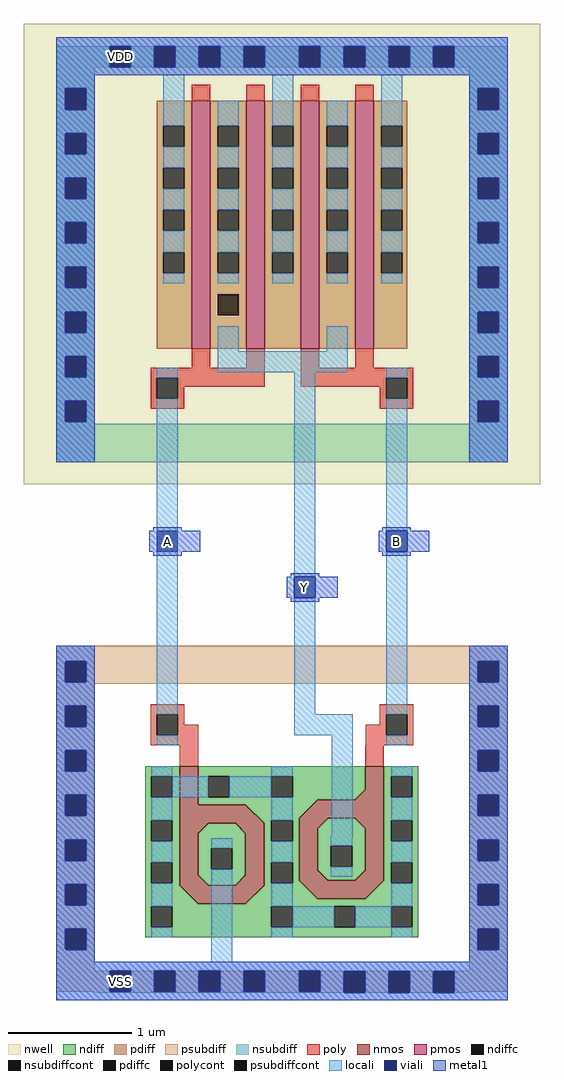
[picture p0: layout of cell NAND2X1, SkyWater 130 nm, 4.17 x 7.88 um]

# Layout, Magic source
magic
tech sky130A
magscale 1 2
<< nwell >>
rect 84 1554 613 1575
rect 84 1492 635 1554
rect 84 1487 613 1492
rect 84 1139 582 1487
rect 84 1105 205 1139
rect 229 1105 582 1139
rect 84 832 582 1105
<< pdiffc >>
rect 229 1105 263 1139
<< psubdiff >>
rect 31 510 635 572
rect 31 13 55 47
rect 89 13 127 47
rect 161 13 199 47
rect 233 13 271 47
rect 305 13 361 47
rect 395 46 635 47
rect 395 13 433 46
rect 31 12 433 13
rect 467 12 505 46
rect 539 12 577 46
rect 611 12 635 46
<< nsubdiff >>
rect 31 1505 55 1539
rect 89 1505 127 1539
rect 161 1505 199 1539
rect 233 1505 271 1539
rect 305 1505 361 1539
rect 395 1505 433 1539
rect 467 1505 505 1539
rect 539 1505 577 1539
rect 611 1505 635 1539
rect 31 868 635 930
<< psubdiffcont >>
rect 55 13 89 47
rect 127 13 161 47
rect 199 13 233 47
rect 271 13 305 47
rect 361 13 395 47
rect 433 12 467 46
rect 505 12 539 46
rect 577 12 611 46
<< nsubdiffcont >>
rect 55 1505 89 1539
rect 127 1505 161 1539
rect 199 1505 233 1539
rect 271 1505 305 1539
rect 361 1505 395 1539
rect 433 1505 467 1539
rect 505 1505 539 1539
rect 577 1505 611 1539
<< poly >>
rect 175 990 187 1020
rect 481 990 491 1020
rect 175 411 198 444
rect 168 403 198 411
rect 468 411 491 444
rect 468 410 498 411
<< locali >>
rect 31 1539 635 1554
rect 31 1505 55 1539
rect 89 1505 127 1539
rect 161 1505 199 1539
rect 233 1505 271 1539
rect 305 1505 361 1539
rect 395 1505 433 1539
rect 467 1505 505 1539
rect 539 1505 577 1539
rect 611 1505 635 1539
rect 31 1492 635 1505
rect 229 1047 263 1087
rect 405 1047 439 1087
rect 229 1013 439 1047
rect 131 461 165 954
rect 353 461 387 1013
rect 501 477 535 954
rect 353 427 447 461
rect 413 261 447 427
rect 219 62 253 195
rect 31 47 635 62
rect 31 13 55 47
rect 89 13 127 47
rect 161 13 199 47
rect 233 13 271 47
rect 305 13 361 47
rect 395 46 635 47
rect 395 13 433 46
rect 31 12 433 13
rect 467 12 505 46
rect 539 12 577 46
rect 611 12 635 46
rect 31 0 635 12
<< viali >>
rect 55 1505 89 1539
rect 127 1505 161 1539
rect 199 1505 233 1539
rect 271 1505 305 1539
rect 361 1505 395 1539
rect 433 1505 467 1539
rect 505 1505 539 1539
rect 577 1505 611 1539
rect 55 13 89 47
rect 127 13 161 47
rect 199 13 233 47
rect 271 13 305 47
rect 361 13 395 47
rect 433 12 467 46
rect 505 12 539 46
rect 577 12 611 46
<< metal1 >>
rect 31 1539 635 1554
rect 31 1505 55 1539
rect 89 1505 127 1539
rect 161 1505 199 1539
rect 233 1505 271 1539
rect 305 1505 361 1539
rect 395 1505 433 1539
rect 467 1505 505 1539
rect 539 1505 577 1539
rect 611 1505 635 1539
rect 31 1492 635 1505
rect 131 723 165 757
rect 31 47 635 62
rect 31 13 55 47
rect 89 13 127 47
rect 161 13 199 47
rect 233 13 271 47
rect 305 13 361 47
rect 395 46 635 47
rect 395 13 433 46
rect 31 12 433 13
rect 467 12 505 46
rect 539 12 577 46
rect 611 12 635 46
rect 31 0 635 12
use poly_li1_contact  poly_li1_contact_1 pcells
transform 0 1 148 -1 0 444
box -33 -27 33 27
use pmos2  pmos2_0 pcells
transform 1 0 43 0 1 1450
box 52 -460 352 42
use nmos_bottom  nmos_bottom_0 ./pcells
transform 1 0 149 0 1 105
box -37 -4 211 298
use li1_M1_contact_perp_ext  li1_M1_contact_perp_ext_0 pcells
transform 0 -1 148 1 0 740
box -23 -53 49 29
use poly_li1_contact  poly_li1_contact_0
transform 0 1 148 -1 0 987
box -33 -27 33 27
use diff_ring_side  diff_ring_side_1 pcells
transform 1 0 0 0 1 0
box -84 0 84 1575
use li1_M1_contact_perp_ext  li1_M1_contact_perp_ext_1
transform 0 -1 518 1 0 740
box -23 -53 49 29
use li1_M1_contact_perp_ext  li1_M1_contact_perp_ext_2
transform 0 -1 370 1 0 666
box -23 -53 49 29
use nmos_top  nmos_top_0 pcells
transform 1 0 307 0 1 101
box -1 0 247 309
use poly_li1_contact  poly_li1_contact_2
transform 0 1 518 -1 0 444
box -33 -27 33 27
use poly_li1_contact  poly_li1_contact_3
transform 0 1 518 -1 0 987
box -33 -27 33 27
use pmos2  pmos2_1
transform 1 0 219 0 1 1450
box 52 -460 352 42
use diff_ring_side  diff_ring_side_0
transform 1 0 666 0 1 0
box -84 0 84 1575
<< labels >>
rlabel metal1 148 740 148 740 1 A
port 1 n
rlabel metal1 72 1522 72 1522 1 VDD
port 2 n
rlabel metal1 72 30 72 30 1 VSS
port 3 n
rlabel metal1 370 666 370 666 1 Y
port 4 n
rlabel metal1 518 740 518 740 1 B
port 5 n
<< end >>

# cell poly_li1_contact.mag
magic
tech sky130A
magscale 1 2
<< poly >>
rect -33 17 33 27
rect -33 -17 -17 17
rect 17 -17 33 17
rect -33 -27 33 -17
<< polycont >>
rect -17 -17 17 17
<< locali >>
rect -33 -17 -17 17
rect 17 -17 33 17
<< end >>

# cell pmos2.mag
magic
tech sky130A
magscale 1 2
<< nwell >>
rect 52 -435 352 37
<< pmos >>
rect 144 -399 174 1
rect 232 -399 262 1
<< pdiff >>
rect 88 -39 144 1
rect 88 -73 98 -39
rect 132 -73 144 -39
rect 88 -107 144 -73
rect 88 -141 98 -107
rect 132 -141 144 -107
rect 88 -175 144 -141
rect 88 -209 98 -175
rect 132 -209 144 -175
rect 88 -243 144 -209
rect 88 -277 98 -243
rect 132 -277 144 -243
rect 88 -399 144 -277
rect 174 -39 232 1
rect 174 -73 186 -39
rect 220 -73 232 -39
rect 174 -107 232 -73
rect 174 -141 186 -107
rect 220 -141 232 -107
rect 174 -175 232 -141
rect 174 -209 186 -175
rect 220 -209 232 -175
rect 174 -243 232 -209
rect 174 -277 186 -243
rect 220 -277 232 -243
rect 174 -399 232 -277
rect 262 -39 316 1
rect 262 -73 274 -39
rect 308 -73 316 -39
rect 262 -107 316 -73
rect 262 -141 274 -107
rect 308 -141 316 -107
rect 262 -175 316 -141
rect 262 -209 274 -175
rect 308 -209 316 -175
rect 262 -243 316 -209
rect 262 -277 274 -243
rect 308 -277 316 -243
rect 262 -399 316 -277
<< pdiffc >>
rect 98 -73 132 -39
rect 98 -141 132 -107
rect 98 -209 132 -175
rect 98 -277 132 -243
rect 186 -73 220 -39
rect 186 -141 220 -107
rect 186 -209 220 -175
rect 186 -277 220 -243
rect 274 -73 308 -39
rect 274 -141 308 -107
rect 274 -209 308 -175
rect 274 -277 308 -243
<< poly >>
rect 144 1 174 27
rect 232 1 262 27
rect 144 -430 174 -399
rect 232 -430 262 -399
rect 144 -460 262 -430
<< locali >>
rect 98 -39 132 42
rect 98 -107 132 -73
rect 98 -175 132 -141
rect 98 -243 132 -209
rect 98 -293 132 -277
rect 186 -39 220 1
rect 186 -107 220 -73
rect 186 -175 220 -141
rect 186 -243 220 -209
rect 186 -293 220 -277
rect 274 -39 308 42
rect 274 -107 308 -73
rect 274 -175 308 -141
rect 274 -243 308 -209
rect 274 -293 308 -277
<< end >>

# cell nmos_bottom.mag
magic
tech sky130A
magscale 1 2
<< nmos >>
rect 19 210 49 272
rect 19 180 125 210
tri 125 180 155 210 sw
rect 19 80 49 180
tri 49 164 65 180 nw
tri 109 164 125 180 ne
tri 49 80 65 96 sw
tri 109 80 125 96 se
rect 125 80 155 180
tri 19 50 49 80 ne
rect 49 50 125 80
tri 125 50 155 80 nw
<< ndiff >>
rect -37 256 19 272
rect -37 222 -27 256
rect 7 222 19 256
rect -37 185 19 222
rect 49 256 211 272
rect 49 222 65 256
rect 99 222 167 256
rect 201 222 211 256
rect 49 210 211 222
rect -37 151 -27 185
rect 7 151 19 185
tri 125 180 155 210 ne
rect 155 185 211 210
rect -37 117 19 151
rect -37 83 -27 117
rect 7 83 19 117
rect -37 50 19 83
tri 49 164 65 180 se
rect 65 164 109 180
tri 109 164 125 180 sw
rect 49 140 125 164
rect 49 106 70 140
rect 104 106 125 140
rect 49 96 125 106
tri 49 80 65 96 ne
rect 65 80 109 96
tri 109 80 125 96 nw
rect 155 151 167 185
rect 201 151 211 185
rect 155 117 211 151
rect 155 83 167 117
rect 201 83 211 117
tri 19 50 49 80 sw
tri 125 50 155 80 se
rect 155 50 211 83
rect -37 46 211 50
rect -37 12 -27 46
rect 7 12 167 46
rect 201 12 211 46
rect -37 -4 211 12
<< ndiffc >>
rect -27 222 7 256
rect 65 222 99 256
rect 167 222 201 256
rect -27 151 7 185
rect -27 83 7 117
rect 70 106 104 140
rect 167 151 201 185
rect 167 83 201 117
rect -27 12 7 46
rect 167 12 201 46
<< poly >>
rect 19 272 49 298
<< locali >>
rect -27 256 7 272
rect 167 256 201 272
rect 7 222 65 256
rect 99 222 167 256
rect -27 185 7 222
rect 167 185 201 222
rect -27 117 7 151
rect 70 140 104 156
rect 70 90 104 106
rect 167 117 201 151
rect -27 46 7 83
rect -27 -4 7 12
rect 167 46 201 83
rect 167 -4 201 12
<< end >>

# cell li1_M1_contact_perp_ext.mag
magic
tech sky130
magscale 1 2
<< locali >>
rect 17 -17 49 17
<< viali >>
rect -17 -17 17 17
<< metal1 >>
rect -17 23 17 29
rect -23 17 23 23
rect -23 -17 -17 17
rect 17 -17 23 17
rect -23 -23 23 -17
rect -17 -53 17 -23
<< end >>

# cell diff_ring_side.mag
magic
tech sky130
magscale 1 2
<< nwell >>
rect -84 832 84 1575
<< psubdiff >>
rect -31 547 31 572
rect -31 513 -17 547
rect 17 513 31 547
rect -31 475 31 513
rect -31 441 -17 475
rect 17 441 31 475
rect -31 403 31 441
rect -31 369 -17 403
rect 17 369 31 403
rect -31 331 31 369
rect -31 297 -17 331
rect 17 297 31 331
rect -31 259 31 297
rect -31 225 -17 259
rect 17 225 31 259
rect -31 187 31 225
rect -31 153 -17 187
rect 17 153 31 187
rect -31 115 31 153
rect -31 81 -17 115
rect 17 81 31 115
rect -31 13 31 81
<< nsubdiff >>
rect -31 1471 31 1539
rect -31 1437 -17 1471
rect 17 1437 31 1471
rect -31 1399 31 1437
rect -31 1365 -17 1399
rect 17 1365 31 1399
rect -31 1327 31 1365
rect -31 1293 -17 1327
rect 17 1293 31 1327
rect -31 1255 31 1293
rect -31 1221 -17 1255
rect 17 1221 31 1255
rect -31 1183 31 1221
rect -31 1149 -17 1183
rect 17 1149 31 1183
rect -31 1111 31 1149
rect -31 1077 -17 1111
rect 17 1077 31 1111
rect -31 1039 31 1077
rect -31 1005 -17 1039
rect 17 1005 31 1039
rect -31 967 31 1005
rect -31 933 -17 967
rect 17 933 31 967
rect -31 868 31 933
<< psubdiffcont >>
rect -17 513 17 547
rect -17 441 17 475
rect -17 369 17 403
rect -17 297 17 331
rect -17 225 17 259
rect -17 153 17 187
rect -17 81 17 115
<< nsubdiffcont >>
rect -17 1437 17 1471
rect -17 1365 17 1399
rect -17 1293 17 1327
rect -17 1221 17 1255
rect -17 1149 17 1183
rect -17 1077 17 1111
rect -17 1005 17 1039
rect -17 933 17 967
<< locali >>
rect -31 1471 31 1554
rect -31 1437 -17 1471
rect 17 1437 31 1471
rect -31 1399 31 1437
rect -31 1365 -17 1399
rect 17 1365 31 1399
rect -31 1327 31 1365
rect -31 1293 -17 1327
rect 17 1293 31 1327
rect -31 1255 31 1293
rect -31 1221 -17 1255
rect 17 1221 31 1255
rect -31 1183 31 1221
rect -31 1149 -17 1183
rect 17 1149 31 1183
rect -31 1111 31 1149
rect -31 1077 -17 1111
rect 17 1077 31 1111
rect -31 1039 31 1077
rect -31 1005 -17 1039
rect 17 1005 31 1039
rect -31 967 31 1005
rect -31 933 -17 967
rect 17 933 31 967
rect -31 868 31 933
rect -31 547 31 572
rect -31 513 -17 547
rect 17 513 31 547
rect -31 475 31 513
rect -31 441 -17 475
rect 17 441 31 475
rect -31 403 31 441
rect -31 369 -17 403
rect 17 369 31 403
rect -31 331 31 369
rect -31 297 -17 331
rect 17 297 31 331
rect -31 259 31 297
rect -31 225 -17 259
rect 17 225 31 259
rect -31 187 31 225
rect -31 153 -17 187
rect 17 153 31 187
rect -31 115 31 153
rect -31 81 -17 115
rect 17 81 31 115
rect -31 0 31 81
<< viali >>
rect -17 1437 17 1471
rect -17 1365 17 1399
rect -17 1293 17 1327
rect -17 1221 17 1255
rect -17 1149 17 1183
rect -17 1077 17 1111
rect -17 1005 17 1039
rect -17 933 17 967
rect -17 513 17 547
rect -17 441 17 475
rect -17 369 17 403
rect -17 297 17 331
rect -17 225 17 259
rect -17 153 17 187
rect -17 81 17 115
<< metal1 >>
rect -31 1471 31 1554
rect -31 1437 -17 1471
rect 17 1437 31 1471
rect -31 1399 31 1437
rect -31 1365 -17 1399
rect 17 1365 31 1399
rect -31 1327 31 1365
rect -31 1293 -17 1327
rect 17 1293 31 1327
rect -31 1255 31 1293
rect -31 1221 -17 1255
rect 17 1221 31 1255
rect -31 1183 31 1221
rect -31 1149 -17 1183
rect 17 1149 31 1183
rect -31 1111 31 1149
rect -31 1077 -17 1111
rect 17 1077 31 1111
rect -31 1039 31 1077
rect -31 1005 -17 1039
rect 17 1005 31 1039
rect -31 967 31 1005
rect -31 933 -17 967
rect 17 933 31 967
rect -31 868 31 933
rect -31 547 31 572
rect -31 513 -17 547
rect 17 513 31 547
rect -31 475 31 513
rect -31 441 -17 475
rect 17 441 31 475
rect -31 403 31 441
rect -31 369 -17 403
rect 17 369 31 403
rect -31 331 31 369
rect -31 297 -17 331
rect 17 297 31 331
rect -31 259 31 297
rect -31 225 -17 259
rect 17 225 31 259
rect -31 187 31 225
rect -31 153 -17 187
rect 17 153 31 187
rect -31 115 31 153
rect -31 81 -17 115
rect 17 81 31 115
rect -31 0 31 81
<< end >>

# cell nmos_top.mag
magic
tech sky130
magscale 1 2
<< nmos >>
tri 144 222 160 238 se
rect 160 222 190 276
tri 54 192 84 222 se
rect 84 192 190 222
rect 54 92 84 192
tri 84 176 100 192 nw
tri 144 176 160 192 ne
tri 84 92 100 108 sw
tri 144 92 160 108 se
rect 160 92 190 192
tri 54 62 84 92 ne
rect 84 62 160 92
tri 160 62 190 92 nw
<< ndiff >>
rect -1 260 160 276
rect -1 226 9 260
rect 43 238 160 260
rect 43 226 144 238
rect -1 222 144 226
tri 144 222 160 238 nw
rect 190 260 246 276
rect 190 226 202 260
rect 236 226 246 260
rect -1 189 54 222
tri 54 192 84 222 nw
rect -1 155 9 189
rect 43 155 54 189
rect -1 121 54 155
rect -1 87 9 121
rect 43 87 54 121
tri 84 176 100 192 se
rect 100 176 144 192
tri 144 176 160 192 sw
rect 84 148 160 176
rect 84 114 105 148
rect 139 114 160 148
rect 84 108 160 114
tri 84 92 100 108 ne
rect 100 92 144 108
tri 144 92 160 108 nw
rect 190 189 246 226
rect 190 155 202 189
rect 236 155 246 189
rect 190 121 246 155
rect -1 62 54 87
tri 54 62 84 92 sw
tri 160 62 190 92 se
rect 190 87 202 121
rect 236 87 246 121
rect 190 62 246 87
rect -1 50 246 62
rect -1 16 9 50
rect 43 16 110 50
rect 144 16 202 50
rect 236 16 246 50
rect -1 0 246 16
<< ndiffc >>
rect 9 226 43 260
rect 202 226 236 260
rect 9 155 43 189
rect 9 87 43 121
rect 105 114 139 148
rect 202 155 236 189
rect 202 87 236 121
rect 9 16 43 50
rect 110 16 144 50
rect 202 16 236 50
<< poly >>
rect 160 276 190 309
<< locali >>
rect 9 260 43 276
rect 9 189 43 226
rect 202 260 236 276
rect 202 189 236 226
rect 9 121 43 155
rect 105 148 139 164
rect 105 98 139 114
rect 202 121 236 155
rect 9 50 43 87
rect 202 50 236 87
rect 43 16 110 50
rect 144 16 202 50
rect 9 0 43 16
rect 202 0 236 16
<< end >>
